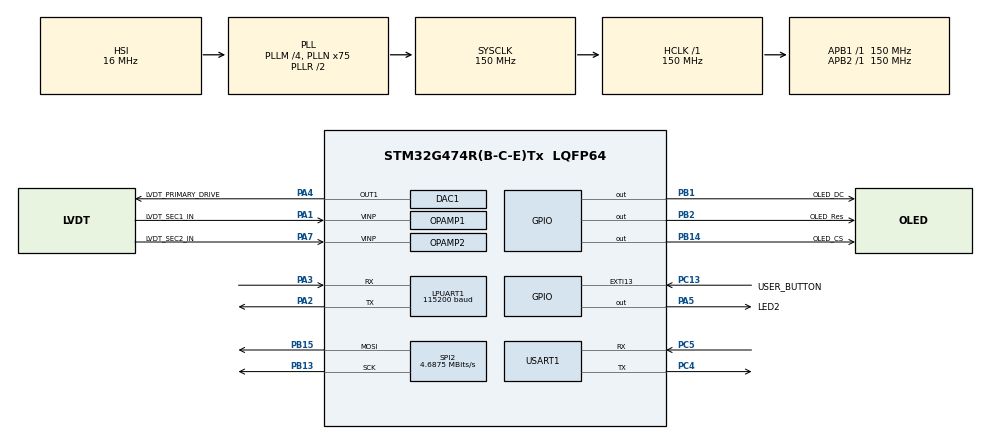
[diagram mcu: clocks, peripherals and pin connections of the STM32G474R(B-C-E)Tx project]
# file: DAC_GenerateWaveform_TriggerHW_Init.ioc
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ADC1.Channel-1\#ChannelRegularConversion=ADC_CHANNEL_VOPAMP1
ADC1.DMAAccessModeView=ENABLE
ADC1.DMAContinuousRequests=ENABLE
ADC1.EOCSelection=ADC_EOC_SINGLE_CONV
ADC1.EnableAnalogWatchDog1=false
ADC1.ExternalTrigConv=ADC_EXTERNALTRIG_T7_TRGO
ADC1.Mode=ADC_DUALMODE_REGSIMULT
ADC1.NbrOfConversion=1
ADC1.NbrOfConversionFlag=1
ADC1.OffsetNumber-1\#ChannelRegularConversion=ADC_OFFSET_NONE
ADC1.Rank-1\#ChannelRegularConversion=1
ADC1.SamplingTime-1\#ChannelRegularConversion=ADC_SAMPLETIME_2CYCLES_5
ADC1.master=1
ADC2.Channel-0\#ChannelRegularConversion=ADC_CHANNEL_VOPAMP2
ADC2.DMAAccessModeView=ENABLE
ADC2.Mode=ADC_DUALMODE_REGSIMULT
ADC2.NbrOfConversionFlag=1
ADC2.OffsetNumber-0\#ChannelRegularConversion=ADC_OFFSET_NONE
ADC2.Rank-0\#ChannelRegularConversion=1
ADC2.SamplingTime-0\#ChannelRegularConversion=ADC_SAMPLETIME_2CYCLES_5
DAC1.DAC_Trigger2_OUT1-DAC_OUT1=DAC_TRIGGER_NONE
DAC1.DAC_Trigger_OUT1-DAC_OUT1=DAC_TRIGGER_T6_TRGO
Dma.ADC1.1.Direction=DMA_PERIPH_TO_MEMORY
Dma.ADC1.1.EventEnable=DISABLE
Dma.ADC1.1.Instance=DMA1_Channel1
Dma.ADC1.1.MemDataAlignment=DMA_MDATAALIGN_WORD
Dma.ADC1.1.MemInc=DMA_MINC_ENABLE
Dma.ADC1.1.Mode=DMA_CIRCULAR
Dma.ADC1.1.PeriphDataAlignment=DMA_PDATAALIGN_WORD
Dma.ADC1.1.PeriphInc=DMA_PINC_DISABLE
Dma.ADC1.1.Polarity=HAL_DMAMUX_REQ_GEN_RISING
Dma.ADC1.1.Priority=DMA_PRIORITY_HIGH
Dma.ADC1.1.RequestNumber=1
Dma.ADC1.1.SignalID=NONE
Dma.ADC1.1.SyncEnable=DISABLE
Dma.ADC1.1.SyncPolarity=HAL_DMAMUX_SYNC_NO_EVENT
Dma.ADC1.1.SyncRequestNumber=1
Dma.ADC1.1.SyncSignalID=NONE
Dma.DAC1_CH1.0.Direction=DMA_MEMORY_TO_PERIPH
Dma.DAC1_CH1.0.EventEnable=DISABLE
Dma.DAC1_CH1.0.Instance=DMA1_Channel3
Dma.DAC1_CH1.0.MemDataAlignment=DMA_MDATAALIGN_HALFWORD
Dma.DAC1_CH1.0.MemInc=DMA_MINC_ENABLE
Dma.DAC1_CH1.0.Mode=DMA_CIRCULAR
Dma.DAC1_CH1.0.PeriphDataAlignment=DMA_PDATAALIGN_WORD
Dma.DAC1_CH1.0.PeriphInc=DMA_PINC_DISABLE
Dma.DAC1_CH1.0.Polarity=HAL_DMAMUX_REQUEST_GEN_RISING
Dma.DAC1_CH1.0.Priority=DMA_PRIORITY_HIGH
Dma.DAC1_CH1.0.RequestNumber=1
Dma.DAC1_CH1.0.SignalID=HAL_DMAMUX1_REQUEST_GEN_EXTI13
Dma.DAC1_CH1.0.SyncEnable=DISABLE
Dma.DAC1_CH1.0.SyncPolarity=HAL_DMAMUX_SYNC_NO_EVENT
Dma.DAC1_CH1.0.SyncRequestNumber=1
Dma.DAC1_CH1.0.SyncSignalID=NONE
Dma.Request0=DAC1_CH1
Dma.Request1=ADC1
LPUART1.BaudRate=115200
Mcu.Family=STM32G4
Mcu.Name=STM32G474R(B-C-E)Tx
Mcu.Package=LQFP64
Mcu.UserConstants=tim7_prescaler,0;tim7_period,1250
NVIC.DMA1_Channel1_IRQn=true\:0\:0\:false\:false\:true\:false\:true\:true
NVIC.DMA1_Channel3_IRQn=true\:0\:0\:false\:false\:true\:false\:true\:true
NVIC.EXTI15_10_IRQn=true\:0\:0\:false\:false\:true\:true\:true\:true
NVIC.PriorityGroup=NVIC_PRIORITYGROUP_4
NVIC.TIM6_DAC_IRQn=true\:0\:0\:false\:false\:true\:true\:true\:true
PA1.GPIO_Label=LVDT_SEC1_IN
PA1.Mode=Follower_Internally_Connected
PA1.Signal=OPAMP1_VINP
PA13.Mode=Trace_Asynchronous_SW
PA13.Signal=SYS_JTMS-SWDIO
PA14.Mode=Trace_Asynchronous_SW
PA14.Signal=SYS_JTCK-SWCLK
PA2.Mode=Asynchronous
PA2.Signal=LPUART1_TX
PA3.Mode=Asynchronous
PA3.Signal=LPUART1_RX
PA4.GPIO_Label=LVDT_PRIMARY_DRIVE
PA4.Signal=COMP_DAC11_group
PA5.GPIO_Label=LED2
PA5.Signal=GPIO_Output
PA7.GPIO_Label=LVDT_SEC2_IN
PA7.Mode=Follower_Internally_Connected
PA7.Signal=OPAMP2_VINP
PB1.GPIO_Label=OLED_DC
PB1.Signal=GPIO_Output
PB13.Mode=TX_Only_Simplex_Unidirect_Master
PB13.Signal=SPI2_SCK
PB14.GPIO_Label=OLED_CS
PB14.PinState=GPIO_PIN_SET
PB14.Signal=GPIO_Output
PB15.Mode=TX_Only_Simplex_Unidirect_Master
PB15.Signal=SPI2_MOSI
PB2.GPIO_Label=OLED_Res
PB2.Signal=GPIO_Output
PB3.Mode=Trace_Asynchronous_SW
PB3.Signal=SYS_JTDO-SWO
PC13.GPIO_Label=USER_BUTTON
PC13.GPIO_ModeDefaultEXTI=GPIO_MODE_IT_FALLING
PC13.Signal=GPXTI13
PC4.Mode=Asynchronous
PC4.Signal=USART1_TX
PC5.Mode=Asynchronous
PC5.Signal=USART1_RX
ProjectManager.HeapSize=0x200
ProjectManager.StackSize=0x400
ProjectManager.TargetToolchain=CMake
RCC.ADC12Freq_Value=150000000
RCC.ADC345Freq_Value=150000000
RCC.AHBFreq_Value=150000000
RCC.APB1Freq_Value=150000000
RCC.APB1TimFreq_Value=150000000
RCC.APB2Freq_Value=150000000
RCC.APB2TimFreq_Value=150000000
RCC.CortexFreq_Value=150000000
RCC.EXTERNAL_CLOCK_VALUE=12288000
RCC.HCLKFreq_Value=150000000
RCC.HSE_VALUE=24000000
RCC.HSI48_VALUE=16000000
RCC.HSI_VALUE=16000000
RCC.LSE_VALUE=32768
RCC.PLLM=RCC_PLLM_DIV4
RCC.PLLN=75
RCC.SYSCLKFreq_VALUE=150000000
RCC.SYSCLKSource=RCC_SYSCLKSOURCE_PLLCLK
RCC.USBFreq_Value=150000000
RCC.VCOOutputFreq_Value=300000000
SH.COMP_DAC11_group.0=DAC1_OUT1,DAC_OUT1
SPI2.BaudRatePrescaler=SPI_BAUDRATEPRESCALER_32
SPI2.CalculateBaudRate=4.6875 MBits/s
SPI2.DataSize=SPI_DATASIZE_8BIT
SPI2.Direction=SPI_DIRECTION_2LINES
SPI2.Mode=SPI_MODE_MASTER
SPI2.VirtualType=VM_MASTER
TIM6.AutoReloadPreload=TIM_AUTORELOAD_PRELOAD_DISABLE
TIM6.CounterMode=TIM_COUNTERMODE_UP
TIM6.Period=(timer_reload - 1)
TIM6.Prescaler=(timer_prescaler - 1)
TIM6.TIM_MasterOutputTrigger=TIM_TRGO_UPDATE
TIM7.PeriodNoDither=( tim7_period + 0 )
TIM7.Prescaler=tim7_prescaler
TIM7.TIM_MasterOutputTrigger=TIM_TRGO_UPDATE
USART1.VirtualMode-Asynchronous=VM_ASYNC
VP_ADC1_OPAMP_INTERNAL1.Mode=IN-OPAMP1
VP_ADC2_OPAMP_INTERNAL2.Mode=IN-OPAMP2
VP_CORDIC_VS_CORDIC.Mode=CORDIC_Activate
VP_SYS_VS_DBSignals.Mode=DisableDeadBatterySignals
VP_TIM6_VS_ClockSourceINT.Mode=Enable_Timer
VP_TIM7_VS_ClockSourceINT.Mode=Enable_Timer
board=NUCLEO-G474RE

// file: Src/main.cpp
/* USER CODE BEGIN Header */
/**
  ******************************************************************************
  * @file           : main.c
  * @brief          : Main program body
  ******************************************************************************
  * @attention
  *
  * Copyright (c) 2025 STMicroelectronics.
  * All rights reserved.
  *
  * This software is licensed under terms that can be found in the LICENSE file
  * in the root directory of this software component.
  * If no LICENSE file comes with this software, it is provided AS-IS.
  *
  ******************************************************************************
  */
/* USER CODE END Header */
#include "main.h"
#include "adc.h"
#include "cordic.h"
#include "dac.h"
#include "dma.h"
#include "usart.h"
#include "opamp.h"
#include "spi.h"
#include "tim.h"
#include "gpio.h"

/* USER CODE BEGIN Includes */
#include "ssd1306.h"
#include "ssd1306_fonts.h"
#include "ssd1306_tests.h"
#include <stm32g4xx_ll_dac.h>
#include "goertzel.h"
#include <stdio.h>
/* USER CODE END Includes */

/* USER CODE BEGIN PD */

/* Definitions of environment analog values */
  /* Value of analog reference voltage (Vref+), connected to analog voltage   */
  /* supply Vdda (unit: mV).                                                  */
  #define VDDA_APPLI                       ((uint32_t)3300)

/* Definitions of data related to this example */
/* Full-scale digital value with a resolution of 12 bits (voltage range     */
/* determined by analog voltage references Vref+ and Vref-,                 */
/* refer to reference manual).                                              */
#define DIGITAL_SCALE_12BITS             (__LL_DAC_DIGITAL_SCALE(LL_DAC_RESOLUTION_12B))

/* Definitions of waveform generation values */
/* Waveform generation: parameters of waveform */
/* Waveform amplitude (unit: mV) */
#define WAVEFORM_AMPLITUDE          (VDDA_APPLI)
/* Waveform amplitude (unit: Hz) */
#define WAVEFORM_FREQUENCY          ((uint32_t)1000)
/* Size of array containing DAC waveform samples */
#define WAVEFORM_SAMPLES_SIZE       (sizeof (WaveformSine_12bits_32samples) / sizeof (uint16_t))

/* Waveform generation: parameters of timer (used as DAC trigger) */
/* Timer frequency (unit: Hz). With a timer 16 bits and time base           */
/* freq min 1Hz, range is min=1Hz, max=32kHz.                               */
#define WAVEFORM_TIMER_FREQUENCY                (WAVEFORM_FREQUENCY * WAVEFORM_SAMPLES_SIZE)
/* Timer minimum frequency (unit: Hz), used to calculate frequency range.   */
/* With a timer 16 bits, maximum frequency will be 32000 times this value.  */
#define WAVEFORM_TIMER_FREQUENCY_RANGE_MIN      ((uint32_t)    1)
/* Timer prescaler maximum value (0xFFFF for a timer 16 bits) */
#define WAVEFORM_TIMER_PRESCALER_MAX_VALUE      ((uint32_t)0xFFFF-1)

/**
  * @brief Toggle periods for various blinking modes
  */
#define LED_BLINK_FAST  200
#define LED_BLINK_SLOW  500
#define LED_BLINK_ERROR 1000

#define ADC_BUFFER_SIZE 512
const float PI = 3.14159265358979323846f;

/* USER CODE END PD */

/* USER CODE BEGIN PM */

/**
  * @brief  Computation of a data from maximum value on digital scale 12 bits
  *         (corresponding to voltage Vdda)
  *         to a value on the new scale
  *         (corresponding to voltage defined by WAVEFORM_AMPLITUDE).
  * @param  __DATA_12BITS__: Digital value on scale 12 bits
  * @retval None
  */
#define __WAVEFORM_AMPLITUDE_SCALING(__DATA_12BITS__)                                     \
  (__DATA_12BITS__                                                                        \
   * __LL_DAC_CALC_VOLTAGE_TO_DATA(VDDA_APPLI, WAVEFORM_AMPLITUDE, LL_DAC_RESOLUTION_12B) \
   / __LL_DAC_DIGITAL_SCALE(LL_DAC_RESOLUTION_12B)                                        \
  )

/* USER CODE END PM */

/* USER CODE BEGIN PV */

__IO uint8_t ubButtonPress = 0;

uint32_t timer_prescaler = 0;                   /* Time base prescaler to have timebase aligned on minimum frequency possible */
uint32_t timer_reload = 0;                      /* Timer reload value in function of timer prescaler to achieve time base period */
uint32_t adc_data_buffer[ADC_BUFFER_SIZE] = {0}; /* Buffer to store ADC data */

const uint16_t WaveformSine_12bits_32samples[] =
{
__WAVEFORM_AMPLITUDE_SCALING(2048),
__WAVEFORM_AMPLITUDE_SCALING(2447),
__WAVEFORM_AMPLITUDE_SCALING(2831),
__WAVEFORM_AMPLITUDE_SCALING(3185),
__WAVEFORM_AMPLITUDE_SCALING(3495),
__WAVEFORM_AMPLITUDE_SCALING(3750),
__WAVEFORM_AMPLITUDE_SCALING(3939),
__WAVEFORM_AMPLITUDE_SCALING(4056),
__WAVEFORM_AMPLITUDE_SCALING(4095),
__WAVEFORM_AMPLITUDE_SCALING(4056),
__WAVEFORM_AMPLITUDE_SCALING(3939),
__WAVEFORM_AMPLITUDE_SCALING(3750),
__WAVEFORM_AMPLITUDE_SCALING(3495),
__WAVEFORM_AMPLITUDE_SCALING(3185),
__WAVEFORM_AMPLITUDE_SCALING(2831),
__WAVEFORM_AMPLITUDE_SCALING(2447),
__WAVEFORM_AMPLITUDE_SCALING(2048),
__WAVEFORM_AMPLITUDE_SCALING(1649),
__WAVEFORM_AMPLITUDE_SCALING(1265),
__WAVEFORM_AMPLITUDE_SCALING(911),
__WAVEFORM_AMPLITUDE_SCALING(601),
__WAVEFORM_AMPLITUDE_SCALING(346),
__WAVEFORM_AMPLITUDE_SCALING(157),
__WAVEFORM_AMPLITUDE_SCALING(40),
__WAVEFORM_AMPLITUDE_SCALING(0),
__WAVEFORM_AMPLITUDE_SCALING(40),
__WAVEFORM_AMPLITUDE_SCALING(157),
__WAVEFORM_AMPLITUDE_SCALING(346),
__WAVEFORM_AMPLITUDE_SCALING(601),
__WAVEFORM_AMPLITUDE_SCALING(911),
__WAVEFORM_AMPLITUDE_SCALING(1265),
__WAVEFORM_AMPLITUDE_SCALING(1649)
};

/* USER CODE END PV */

void SystemClock_Config(void);
/* USER CODE BEGIN PFP */

void Activate_DAC(void);
void LED_On(void);
void LED_Off(void);
void LED_Blinking(uint32_t Period);
void WaitForUserButtonPress(void);
void TIM_PrescalerReloadCalculation(void);
#define PUTCHAR_PROTOTYPE int __io_putchar(int ch)

/* USER CODE END PFP */

int main(void)
{

  /* MCU Configuration--------------------------------------------------------*/

  /* Reset of all peripherals, Initializes the Flash interface and the Systick. */
  HAL_Init();

  /* Configure the system clock */
  SystemClock_Config();

  /* USER CODE BEGIN SysInit */
  TIM_PrescalerReloadCalculation();

  /* USER CODE END SysInit */

  /* Initialize all configured peripherals */
  MX_GPIO_Init();
  MX_DMA_Init();
  MX_DAC1_Init();
  MX_TIM6_Init();
  MX_ADC1_Init();
  MX_ADC2_Init();
  MX_OPAMP1_Init();
  MX_OPAMP2_Init();
  MX_USART1_UART_Init();
  MX_LPUART1_UART_Init();
  MX_TIM7_Init();
  MX_CORDIC_Init();
  MX_SPI2_Init();
  /* USER CODE BEGIN 2 */
  ssd1306_Init();
  // ssd1306_TestAll();
  ssd1306_TestRectangleInvert();
  HAL_Delay(1000);
  // ssd1306_TestFPS();
  // HAL_Delay(1000);
  // ssd1306_Fill(Black);
  // ssd1306_TestPolyline();
  // HAL_Delay(1000);
  // ssd1306_Fill(Black);
  // ssd1306_TestArc();
  // HAL_Delay(1000);
  // ssd1306_Fill(Black);
  // ssd1306_TestCircle();
  // HAL_Delay(1000);
  // ssd1306_TestDrawBitmap();
  // HAL_Delay(1000);

  /* Wait for User push-button press */
  ssd1306_Fill(Black);
  ssd1306_SetCursor(0, SSD1306_HEIGHT - 20);
  ssd1306_WriteString("Press button", Font_7x10, White);
  ssd1306_SetCursor(0, SSD1306_HEIGHT - 10);
  ssd1306_WriteString("     to start...", Font_7x10, White);
  // Show some CORDIC calculations of sine
  float val[] = {0.0f, 0.25f * PI, 0.5f * PI, 0.75f * PI, 1.0f * PI};
  float res_sin[5];
  float res_cos[5];
  HAL_StatusTypeDef res_status[5];
  printf("\033[3J\033[2J\033[H"); // Clear screen and move cursor to home position
  // printf("printf test\r\n");
  // printf("printf test int 0=%d\n", 0);
  // printf("printf test int 1=%d\n", 1);
  // printf("printf test float 0.5=%f\n", 0.5f);
  // printf("printf test double 0.5=%lf\n", 0.5);
  // printf("printf test string 'test'='%s'\n", "test");
  // printf("printf test char 'A'=%c\n", 'A');
  // printf("printf test hex 0xa234=%x\n", 0xa234);
  // printf("printf test hex 0xA234=%X\n", 0xa234);
  for (int i = 0; i < 5; i++) {
    res_status[i] = cordic_compute_sin_cos(val[i], &res_sin[i], &res_cos[i]);
    ssd1306_SetCursor(i*10, 0);
    ssd1306_WriteChar('0'+i, Font_7x10, White);
    ssd1306_SetCursor(i*10, 10);
    ssd1306_WriteChar(res_status[i] == HAL_OK ? '1' : 'x', Font_7x10, White);
    printf("CORDIC calc_no=%d x=%f sin(x)=%f cos(x)=%f status=%s\n", i, val[i], res_sin[i], res_cos[i], res_status[i] == HAL_OK ? "OK" : "FAIL");
  }
  ssd1306_UpdateScreen();
  printf("Please press button to start...\r\n");
  WaitForUserButtonPress();
  printf("Operation started\r\n");
  ssd1306_InvertRectangle(0, 0, SSD1306_WIDTH-1, SSD1306_HEIGHT-1);
  // ssd1306_Fill(White);
  ssd1306_UpdateScreen();

  /* Turn-off LED4 */
  LED_Off();

  // /* Set DMA transfer addresses of source and destination */
  // LL_DMA_ConfigAddresses(DMA1,
  //                        LL_DMA_CHANNEL_3,
  //                        (uint32_t)&WaveformSine_12bits_32samples,
  //                        LL_DAC_DMA_GetRegAddr(DAC1, LL_DAC_CHANNEL_1, LL_DAC_DMA_REG_DATA_12BITS_RIGHT_ALIGNED),
  //                        LL_DMA_DIRECTION_MEMORY_TO_PERIPH);

  // /* Set DMA transfer size */
  // LL_DMA_SetDataLength(DMA1,
  //                      LL_DMA_CHANNEL_3,
  //                      WAVEFORM_SAMPLES_SIZE);

  // HAL_DMA_Start(&hdma_adc1, (uint32_t)&WaveformSine_12bits_32samples, DAC1_CHANNEL_1, WAVEFORM_SAMPLES_SIZE);

  // /* Enable DMA transfer interruption: transfer error */
  // LL_DMA_EnableIT_TE(DMA1,
  //                    LL_DMA_CHANNEL_3);

  /* Note: In this example, the only DMA interruption activated is            */
  /*       transfer error.                                                     */
  /*       If needed, DMA interruptions of half of transfer                   */
  /*       and transfer complete can be activated.                            */
  /*       Refer to DMA examples.                                             */

  /* Activation of DMA */
  /* Enable the DMA transfer */
  // LL_DMA_EnableChannel(DMA1,
  //                      LL_DMA_CHANNEL_3);

  /* Set DAC mode sample-and-hold timings */
  // LL_DAC_SetSampleAndHoldSampleTime (DAC1, LL_DAC_CHANNEL_1, 0x3FF);
  // LL_DAC_SetSampleAndHoldHoldTime   (DAC1, LL_DAC_CHANNEL_1, 0x3FF);
  // LL_DAC_SetSampleAndHoldRefreshTime(DAC1, LL_DAC_CHANNEL_1, 0xFF);

  /* Set the mode for the selected DAC channel */
  // LL_DAC_SetMode(DAC1, LL_DAC_CHANNEL_1, LL_DAC_MODE_NORMAL_OPERATION);

  /* Enable DAC channel DMA request */
  LL_DAC_EnableDMAReq(DAC1, LL_DAC_CHANNEL_1);

  /* Enable interruption DAC channel1 under-run */
  LL_DAC_EnableIT_DMAUDR1(DAC1);

  /* Activation of Timer */
  /* Enable counter */
  // LL_TIM_EnableCounter(TIM6);
  // HAL_TIM_Base_Start_DMA(&htim7, WaveformSine_12bits_32samples, WAVEFORM_SAMPLES_SIZE);
  HAL_TIM_Base_Start(&htim6);

  /* Activation of DAC channel */
  Activate_DAC();

  /* Turn-on LED4 */
  LED_On();

  /* Start ADC1 and ADC2 with DMA channel 1 */
  // HAL_ADCEx_MultiModeStart_DMA(&hadc1, (uint32_t*)adc_data_buffer, ADC_BUFFER_SIZE);

  /* USER CODE END 2 */

  /* Infinite loop */
  while (1)
  {

  }
}

void SystemClock_Config(void)
{
  RCC_OscInitTypeDef RCC_OscInitStruct = {0};
  RCC_ClkInitTypeDef RCC_ClkInitStruct = {0};

  /** Configure the main internal regulator output voltage
  */
  HAL_PWREx_ControlVoltageScaling(PWR_REGULATOR_VOLTAGE_SCALE1);

  /** Initializes the RCC Oscillators according to the specified parameters
  * in the RCC_OscInitTypeDef structure.
  */
  RCC_OscInitStruct.OscillatorType = RCC_OSCILLATORTYPE_HSI;
  RCC_OscInitStruct.HSIState = RCC_HSI_ON;
  RCC_OscInitStruct.HSICalibrationValue = RCC_HSICALIBRATION_DEFAULT;
  RCC_OscInitStruct.PLL.PLLState = RCC_PLL_ON;
  RCC_OscInitStruct.PLL.PLLSource = RCC_PLLSOURCE_HSI;
  RCC_OscInitStruct.PLL.PLLM = RCC_PLLM_DIV4;
  RCC_OscInitStruct.PLL.PLLN = 75;
  RCC_OscInitStruct.PLL.PLLP = RCC_PLLP_DIV2;
  RCC_OscInitStruct.PLL.PLLQ = RCC_PLLQ_DIV2;
  RCC_OscInitStruct.PLL.PLLR = RCC_PLLR_DIV2;
  if (HAL_RCC_OscConfig(&RCC_OscInitStruct) != HAL_OK)
  {
    Error_Handler();
  }

  /** Initializes the CPU, AHB and APB buses clocks
  */
  RCC_ClkInitStruct.ClockType = RCC_CLOCKTYPE_HCLK|RCC_CLOCKTYPE_SYSCLK
                              |RCC_CLOCKTYPE_PCLK1|RCC_CLOCKTYPE_PCLK2;
  RCC_ClkInitStruct.SYSCLKSource = RCC_SYSCLKSOURCE_PLLCLK;
  RCC_ClkInitStruct.AHBCLKDivider = RCC_SYSCLK_DIV1;
  RCC_ClkInitStruct.APB1CLKDivider = RCC_HCLK_DIV1;
  RCC_ClkInitStruct.APB2CLKDivider = RCC_HCLK_DIV1;

  if (HAL_RCC_ClockConfig(&RCC_ClkInitStruct, FLASH_LATENCY_4) != HAL_OK)
  {
    Error_Handler();
  }
}

/* USER CODE BEGIN 4 */

/**
  * @brief  Perform DAC activation procedure to make it ready to generate
  *         a voltage (DAC instance: DAC1).
  * @note   Operations:
  *         - Enable DAC instance channel
  *         - Wait for DAC instance channel startup time
  * @param  None
  * @retval None
  */
void Activate_DAC(void)
{
  __IO uint32_t wait_loop_index = 0;

  /* Enable DAC channel */
  // LL_DAC_Enable(DAC1, LL_DAC_CHANNEL_1);
  // HAL_DAC_Start(&hdac1, DAC_CHANNEL_1);
  HAL_DAC_Start_DMA(&hdac1, DAC_CHANNEL_1, (uint32_t *)WaveformSine_12bits_32samples, WAVEFORM_SAMPLES_SIZE, DAC_ALIGN_12B_R);

  /* Delay for DAC channel voltage settling time from DAC channel startup.    */
  /* Compute number of CPU cycles to wait for, from delay in us.              */
  /* Note: Variable divided by 2 to compensate partially                      */
  /*       CPU processing cycles (depends on compilation optimization).       */
  /* Note: If system core clock frequency is below 200kHz, wait time          */
  /*       is only a few CPU processing cycles.                               */
  wait_loop_index = ((LL_DAC_DELAY_STARTUP_VOLTAGE_SETTLING_US * (SystemCoreClock / (100000 * 2))) / 10);
  while(wait_loop_index != 0)
  {
    wait_loop_index--;
  }

  /* Enable DAC channel trigger */
  /* Note: DAC channel conversion can start from trigger enable:              */
  /*       - if DAC channel trigger source is set to SW:                      */
  /*         DAC channel conversion will start after trig order               */
  /*         using function "LL_DAC_TrigSWConversion()".                      */
  /*       - if DAC channel trigger source is set to external trigger         */
  /*         (timer, ...):                                                    */
  /*         DAC channel conversion can start immediately                     */
  /*         (after next trig order from external trigger)                    */
  LL_DAC_EnableTrigger(DAC1, LL_DAC_CHANNEL_1);
}

/**
  * @brief  Function to manage IRQ Handler
  * @param  None
  * @retval None
  */
void UserButton_Callback(void)
{
  /* On the first press on user button, update only user button variable      */
  /* to manage waiting function.                                              */
  if(ubButtonPress == 0)
  {
    /* Update User push-button variable : to be checked in waiting loop in main program */
    ubButtonPress = 1;
  }
}

void HAL_GPIO_EXTI_Callback(uint16_t GPIO_Pin) {
  if (GPIO_Pin == USER_BUTTON_Pin)
  {
    UserButton_Callback();
  }
}

/**
  * @brief  DMA transfer error callback
  * @note   This function is executed when the transfer error interrupt
  *         is generated during DMA transfer
  * @retval None
  */
void DacDmaTransferError_Callback()
{
  /* Error detected during DMA transfer */
  LED_Blinking(LED_BLINK_ERROR);
}

/**
  * @brief  DAC under-run interruption callback
  * @note   This function is executed when DAC channel under-run error occurs.
  * @retval None
  */
void DacUnderrunError_Callback(void)
{
  /* Note: Disable DAC interruption that caused this error before entering in */
  /*       infinite loop below.                                               */

  /* Disable interruption DAC channel1 under-run */
  LL_DAC_DisableIT_DMAUDR1(DAC1);

  /* Error from ADC */
  LED_Blinking(LED_BLINK_ERROR);
}

/**
  * @brief  Turn-on LED4.
  * @param  None
  * @retval None
  */
void LED_On(void)
{
  /* Turn LED4 on */
  // LL_GPIO_SetOutputPin(LED2_GPIO_Port, LED2_Pin); //TODO: deleteme
  HAL_GPIO_WritePin(LED2_GPIO_Port, LED2_Pin, GPIO_PIN_SET);
}

/**
  * @brief  Turn-off LED4.
  * @param  None
  * @retval None
  */
void LED_Off(void)
{
  /* Turn LED4 off */
  // LL_GPIO_ResetOutputPin(LED2_GPIO_Port, LED2_Pin); //TODO: deleteme
  HAL_GPIO_WritePin(LED2_GPIO_Port, LED2_Pin, GPIO_PIN_RESET);
}

/**
  * @brief  Set LED4 to Blinking mode for an infinite loop (toggle period based on value provided as input parameter).
  * @param  Period : Period of time (in ms) between each toggling of LED
  *   This parameter can be user defined values. Pre-defined values used in that example are :
  *     @arg LED_BLINK_FAST : Fast Blinking
  *     @arg LED_BLINK_SLOW : Slow Blinking
  *     @arg LED_BLINK_ERROR : Error specific Blinking
  * @retval None
  */
void LED_Blinking(uint32_t Period)
{
  /* Turn LED4 on */
  // LL_GPIO_SetOutputPin(LED2_GPIO_Port, LED2_Pin); //TODO: deleteme (not needed)

  /* Toggle IO in an infinite loop */
  while (1)
  {
    // LL_GPIO_TogglePin(LED2_GPIO_Port, LED2_Pin); //TODO: deleteme
    // LL_mDelay(Period);
    HAL_GPIO_TogglePin(LED2_GPIO_Port, LED2_Pin);
    HAL_Delay(Period);
  }
}

/**
  * @brief  Wait for User push-button press to start transfer.
  * @param  None
  * @retval None
  */
void WaitForUserButtonPress(void)
{
  while (ubButtonPress == 0)
  {
    // LL_GPIO_TogglePin(LED2_GPIO_Port, LED2_Pin); // TODO: deleteme
    // LL_mDelay(LED_BLINK_FAST);
    HAL_GPIO_TogglePin(LED2_GPIO_Port, LED2_Pin);
    HAL_Delay(LED_BLINK_FAST);
  }
  ubButtonPress = 0;
}

/**
  * @brief  Calculate prescaler and reload values for timer.
  * @param  None
  * @retval None
  */
void TIM_PrescalerReloadCalculation(void)
{
  uint32_t timer_clock_frequency = 0;             /* Timer clock frequency */

  /* Configuration of timer as time base:                                     */
  /* Caution: Computation of frequency is done for a timer instance on APB1   */
  /*          (clocked by PCLK1)                                              */
  /* Timer frequency is configured from the following constants:              */
  /* - WAVEFORM_TIMER_FREQUENCY: timer frequency (unit: Hz).                  */
  /* - WAVEFORM_TIMER_FREQUENCY_RANGE_MIN: timer minimum frequency possible   */
  /*   (unit: Hz).                                                            */
  /* Note: Refer to comments at these literals definition for more details.   */

  /* Retrieve timer clock source frequency */
  /* If APB1 prescaler is different of 1, timers have a factor x2 on their    */
  /* clock source.                                                            */
  // if (LL_RCC_GetAPB1Prescaler() == LL_RCC_APB1_DIV_1)
  // {
  //   timer_clock_frequency = __LL_RCC_CALC_PCLK1_FREQ(SystemCoreClock, LL_RCC_GetAPB1Prescaler());
  // }
  // else
  // {
  //   timer_clock_frequency = (__LL_RCC_CALC_PCLK1_FREQ(SystemCoreClock, LL_RCC_GetAPB1Prescaler()) * 2);
  // }
  timer_clock_frequency = HAL_RCC_GetPCLK1Freq();

  /* Timer prescaler calculation */
  /* (computation for timer 16 bits, additional + 1 to round the prescaler up) */
  timer_prescaler = ((timer_clock_frequency / (WAVEFORM_TIMER_PRESCALER_MAX_VALUE * WAVEFORM_TIMER_FREQUENCY_RANGE_MIN)) +1);
  /* Timer reload calculation */
  timer_reload = (timer_clock_frequency / (timer_prescaler * WAVEFORM_TIMER_FREQUENCY));
}

PUTCHAR_PROTOTYPE
{
  /* Place your implementation of fputc here */
  /* e.g. write a character to the USART1 and Loop until the end of transmission */
  HAL_UART_Transmit(&hlpuart1, (uint8_t *)&ch, 1, HAL_MAX_DELAY);
  HAL_UART_Transmit(&huart1, (uint8_t *)&ch, 1, HAL_MAX_DELAY);
  return ch;
}

/* USER CODE END 4 */

void Error_Handler(void)
{
  /* USER CODE BEGIN Error_Handler_Debug */
  /* User can add his own implementation to report the HAL error return state */
  LED_Blinking(LED_BLINK_ERROR);
  /* USER CODE END Error_Handler_Debug */
}
